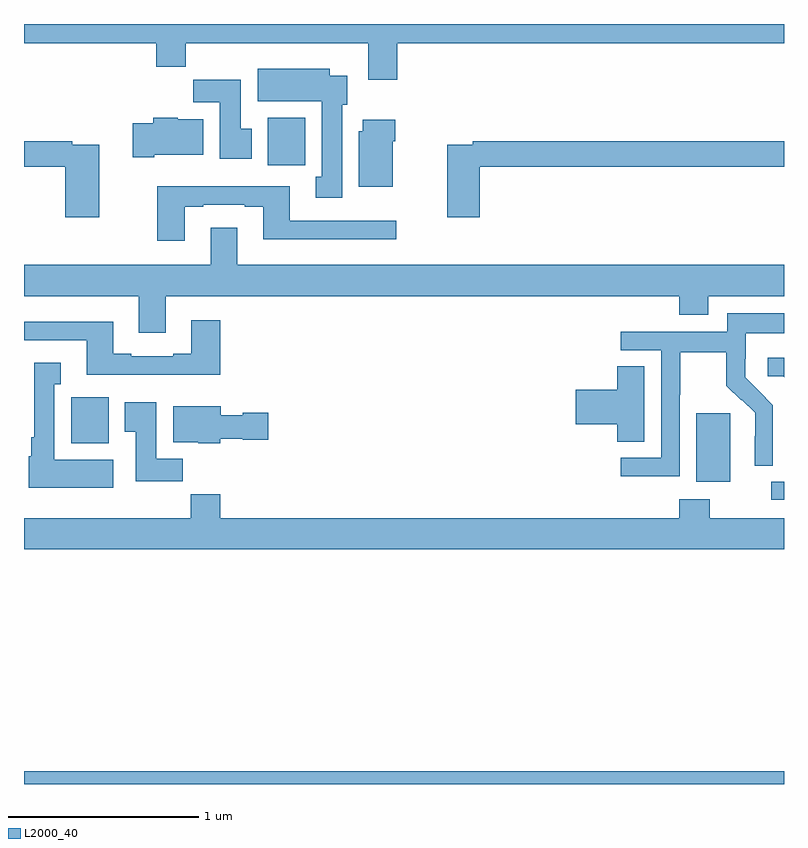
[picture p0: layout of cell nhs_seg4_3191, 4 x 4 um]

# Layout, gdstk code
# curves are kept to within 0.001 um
import gdstk
lib = gdstk.Library(unit=1e-6, precision=1e-09)
def R(c, l, rs):  # rectangles x0, y0, x1, y1
    for r in rs: c.add(gdstk.rectangle(r[:2], r[2:], *l))
def P(c, l, *ps):  # polygons
    for p in ps: c.add(gdstk.Polygon(p, *l))
L2000_40 = (2000, 40)

nhs_seg4_3191 = lib.new_cell('nhs_seg4_3191')
R(nhs_seg4_3191, L2000_40, [(279,812.9,283,812.968), (282.933,814.395,283,814.491), (282.539,814.49,282.718,814.851), (279.248,814.694,279.445,814.936), (280.283,816.156,280.479,816.406)])
P(nhs_seg4_3191, L2000_40, [(280.964,816.8),(283,816.8),(283,816.9),(279,816.9),(279,816.8),(279.695,816.8),(279.695,816.676),(279.851,816.676),(279.851,816.8),(280.811,816.8),(280.811,816.606),(280.964,816.606)],
  [(280.675,816.474),(280.702,816.474),(280.702,816.628),(280.609,816.628),(280.609,816.664),(280.229,816.664),(280.229,816.494),(280.568,816.494),(280.568,816.097),(280.535,816.097),(280.535,815.985),(280.675,815.985)],
  [(280.198,816.348),(280.141,816.348),(280.141,816.606),(279.892,816.606),(279.892,816.488),(280.031,816.488),(280.031,816.192),(280.198,816.192)],
  [(279.685,816.212),(279.943,816.212),(279.943,816.4),(279.81,816.4),(279.81,816.406),(279.68,816.406),(279.68,816.378),(279.573,816.378),(279.573,816.2),(279.685,816.2)],
  [(280.942,816.284),(280.955,816.284),(280.955,816.397),(280.784,816.397),(280.784,816.336),(280.763,816.336),(280.763,816.044),(280.942,816.044)],
  [(281.399,816.148),(283,816.148),(283,816.284),(281.362,816.284),(281.362,816.264),(281.228,816.264),(281.228,815.883),(281.399,815.883)],
  [(279.396,816.264),(279.254,816.264),(279.254,816.284),(279,816.284),(279,816.148),(279.218,816.148),(279.218,815.883),(279.396,815.883)],
  [(279.847,815.937),(279.943,815.937),(279.943,815.949),(280.163,815.949),(280.163,815.937),(280.259,815.937),(280.259,815.768),(280.96,815.768),(280.96,815.865),(280.399,815.865),(280.399,816.046),(279.7,816.046),(279.7,815.76),(279.847,815.76)],
  [(279.745,815.468),(282.449,815.468),(282.449,815.369),(282.601,815.369),(282.601,815.468),(283,815.468),(283,815.632),(280.123,815.632),(280.123,815.827),(279.983,815.827),(279.983,815.632),(279,815.632),(279,815.468),(279.605,815.468),(279.605,815.274),(279.745,815.274)],
  [(282.45,814.948),(282.453,814.948),(282.453,815.172),(282.697,815.172),(282.697,814.997),(282.774,814.92),(282.777,814.923),(282.848,814.853),(282.848,814.73),(282.846,814.73),(282.846,814.576),(282.942,814.576),(282.942,814.894),(282.796,815.042),(282.796,815.139),(282.798,815.139),(282.798,815.273),(283,815.273),(283,815.377),(282.702,815.377),(282.702,815.28),(282.141,815.28),(282.141,815.184),(282.354,815.184),(282.354,814.617),(282.141,814.617),(282.141,814.519),(282.45,814.519)],
  [(280.034,815.341),(279.881,815.341),(279.881,815.164),(279.785,815.164),(279.785,815.151),(279.565,815.151),(279.565,815.164),(279.469,815.164),(279.469,815.332),(279,815.332),(279,815.235),(279.329,815.235),(279.329,815.054),(280.034,815.054)],
  [(283,815.143),(282.915,815.143),(282.915,815.046),(282.996,815.046),(283,815.042)],
  [(279.469,814.606),(279.16,814.606),(279.16,815.003),(279.193,815.003),(279.193,815.116),(279.053,815.116),(279.053,814.726),(279.038,814.726),(279.038,814.626),(279.026,814.626),(279.026,814.46),(279.469,814.46)],
  [(282.265,815.099),(282.122,815.099),(282.122,814.976),(281.904,814.976),(281.904,814.793),(282.122,814.793),(282.122,814.702),(282.265,814.702)],
  [(279.836,814.612),(279.697,814.612),(279.697,814.909),(279.53,814.909),(279.53,814.753),(279.587,814.753),(279.587,814.494),(279.836,814.494)],
  [(280.032,814.718),(280.152,814.718),(280.152,814.711),(280.285,814.711),(280.285,814.853),(280.152,814.853),(280.152,814.84),(280.036,814.84),(280.036,814.888),(279.785,814.888),(279.785,814.7),(279.918,814.7),(279.918,814.694),(280.032,814.694)],
  [(283,814.3),(282.609,814.3),(282.609,814.399),(282.449,814.399),(282.449,814.3),(280.034,814.3),(280.034,814.424),(279.877,814.424),(279.877,814.3),(279,814.3),(279,814.136),(283,814.136)])

lib.write_gds('nhs_seg4_3191.gds')
